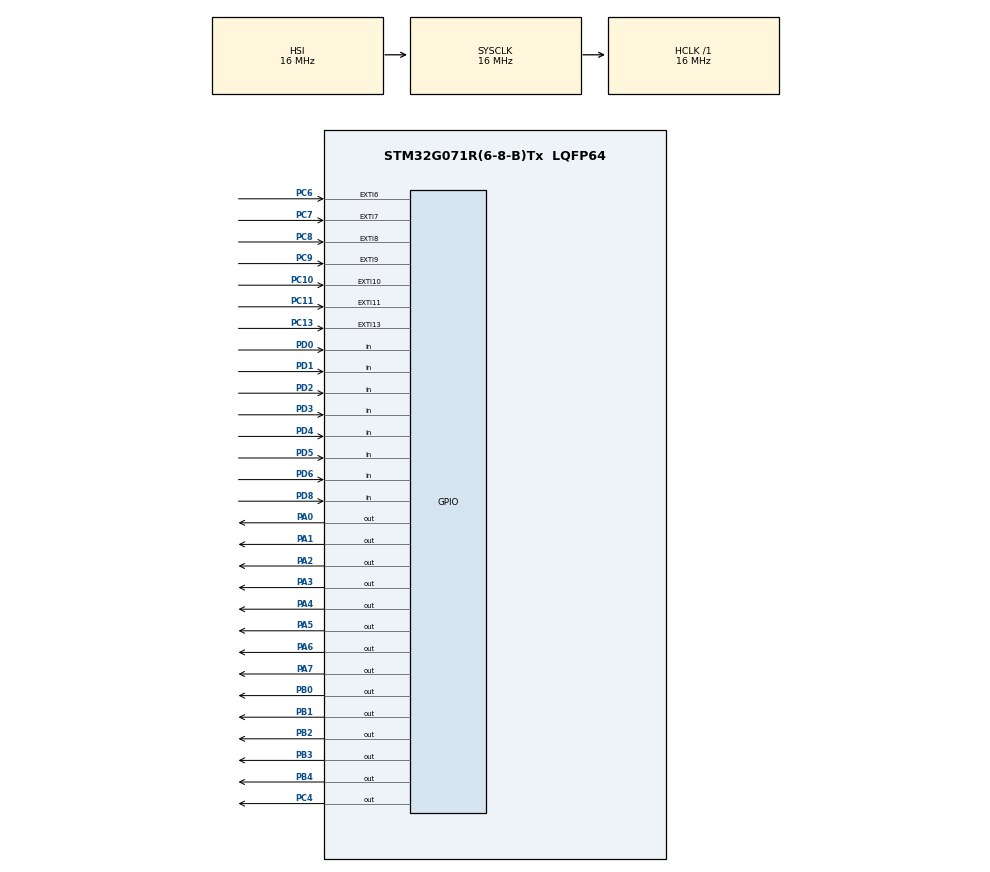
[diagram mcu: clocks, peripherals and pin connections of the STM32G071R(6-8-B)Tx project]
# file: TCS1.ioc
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Mcu.Family=STM32G0
Mcu.Name=STM32G071R(6-8-B)Tx
Mcu.Package=LQFP64
NVIC.EXTI4_15_IRQn=true\:0\:0\:false\:false\:true\:true\:true
PA0.Signal=GPIO_Output
PA1.Signal=GPIO_Output
PA2.Signal=GPIO_Output
PA3.Signal=GPIO_Output
PA4.Signal=GPIO_Output
PA5.Signal=GPIO_Output
PA6.Signal=GPIO_Output
PA7.Signal=GPIO_Output
PB0.Signal=GPIO_Output
PB1.Signal=GPIO_Output
PB2.Signal=GPIO_Output
PB3.Signal=GPIO_Output
PB4.Signal=GPIO_Output
PC10.GPIO_ModeDefaultEXTI=GPIO_MODE_IT_FALLING
PC10.GPIO_PuPd=GPIO_PULLUP
PC10.Signal=GPXTI10
PC11.GPIO_ModeDefaultEXTI=GPIO_MODE_IT_FALLING
PC11.GPIO_PuPd=GPIO_PULLUP
PC11.Signal=GPXTI11
PC13.GPIO_ModeDefaultEXTI=GPIO_MODE_IT_FALLING
PC13.Signal=GPXTI13
PC4.Signal=GPIO_Output
PC6.GPIO_ModeDefaultEXTI=GPIO_MODE_IT_FALLING
PC6.GPIO_PuPd=GPIO_PULLUP
PC6.Signal=GPXTI6
PC7.GPIO_ModeDefaultEXTI=GPIO_MODE_IT_FALLING
PC7.GPIO_PuPd=GPIO_PULLUP
PC7.Signal=GPXTI7
PC8.GPIO_ModeDefaultEXTI=GPIO_MODE_IT_FALLING
PC8.GPIO_PuPd=GPIO_PULLUP
PC8.Signal=GPXTI8
PC9.GPIO_ModeDefaultEXTI=GPIO_MODE_IT_FALLING
PC9.GPIO_PuPd=GPIO_PULLUP
PC9.Signal=GPXTI9
PD0.GPIO_PuPd=GPIO_PULLUP
PD0.Signal=GPIO_Input
PD1.GPIO_PuPd=GPIO_PULLUP
PD1.Signal=GPIO_Input
PD2.GPIO_PuPd=GPIO_PULLUP
PD2.Signal=GPIO_Input
PD3.GPIO_PuPd=GPIO_PULLUP
PD3.Signal=GPIO_Input
PD4.GPIO_PuPd=GPIO_PULLUP
PD4.Signal=GPIO_Input
PD5.GPIO_PuPd=GPIO_PULLUP
PD5.Signal=GPIO_Input
PD6.GPIO_PuPd=GPIO_PULLUP
PD6.Signal=GPIO_Input
PD8.GPIO_PuPd=GPIO_PULLUP
PD8.Signal=GPIO_Input
ProjectManager.HeapSize=0x200
ProjectManager.StackSize=0x400
ProjectManager.TargetToolchain=MDK-ARM V5.27
RCC.AHBFreq_Value=16000000
RCC.CortexFreq_Value=16000000
RCC.EXTERNAL_CLOCK_VALUE=48000
RCC.HCLKFreq_Value=16000000
RCC.HSE_VALUE=8000000
RCC.HSI_VALUE=16000000
RCC.LSE_VALUE=32768
RCC.SYSCLKFreq_VALUE=16000000
RCC.VCOOutputFreq_Value=128000000
VP_SYS_VS_DBSignals.Mode=DisableDeadBatterySignals
board=custom

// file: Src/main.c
/* USER CODE BEGIN Header */
/**
  ******************************************************************************
  * @file           : main.c
  * @brief          : Main program body
  ******************************************************************************
  * @attention
  *
  * <h2><center>&copy; Copyright (c) 2021 STMicroelectronics.
  * All rights reserved.</center></h2>
  *
  * This software component is licensed by ST under BSD 3-Clause license,
  * the "License"; You may not use this file except in compliance with the
  * License. You may obtain a copy of the License at:
  *                        opensource.org/licenses/BSD-3-Clause
  *
  ******************************************************************************
  */
/* USER CODE END Header */
#include "main.h"

#define u8  unsigned char
#define u16 unsigned int

int last_num[32][16];

void delay(void);
void lcdwritecmd(unsigned char cmd);
void lcdwritedata(unsigned char dat);
void lcdinit(void);

void clear(void);
void drowpoint(char x,char y,char z);
void lcdsetcursor(unsigned char x, unsigned char y);
void lcdshowstr(unsigned char x, unsigned char y, unsigned char *str);

const int flg[4][2]={{1,0},{0,1},{0,-1},{-1,0}};//下右左上坐标变化规律
int n=127,m=63;  //n和m是蛇的活动范围28行76列+边框=可视化窗口大小
struct xcw{int x,y;}tang[5][15],foodd[2];//结构体tan存储每条蛇的坐标  结构体foodd记录两个食物坐标
int tot[5];     //tot[0123]是四条蛇的长度
int f[5];       //存储蛇的运行状态0123下右左上   搭配flg使用
int score;      //得分
int food;       //食物个数
int ms=0;       //初始--模式选择
int ans_len=1e9;
int vis[128][64];//记录食物存在点的矩阵  例如(foddd[0].x,foddd[0].y)有食物则vis[foddd[0].x][foddd[0].y]=1

//int  choose();     //模式选择，中断代替
int  mods();         //对应模式小蛇初始化
void draw();         //显示边框
void rand_food();    //没有食物时随机投喂
int  change(int t);  //没有按键按下蛇的运行
int check(int x,int y);         //检验某一个点
void machine(int t,int x,int y); //机器人寻路
void result(int t);              //积分够了-胜利
void fnd(int t,int x,int y);     //撞墙撞蛇--失败
int  ads(int x);                 //取绝对值
int  other(int x);               //03交换、12交换
int get_food(int x,int y,int xxx,int yyy); //辅助机器人找寻食物

//void Ending();                   //结束

ITStatus EXTI_GetITStatus(uint32_t EXTI_Line) //判断中断管脚
{
    ITStatus bitstatus = RESET; //初始位状态0
    uint32_t enablestatus = 0;  //初始使能状态0
    /* Check the parameters */
    assert_param(IS_GET_EXTI_LINE(EXTI_Line));
    enablestatus =  EXTI->IMR1 & EXTI_Line;
    if (((EXTI->FPR1 & EXTI_Line) != (uint32_t)RESET) && (enablestatus != (uint32_t)RESET))
		      bitstatus = SET;
    else
        bitstatus = RESET;
    return bitstatus;
}

void EXTI_ClearITPendingBit(uint32_t EXTI_Line) //释放对应管脚标志位
{
  /* Check the parameters */
  assert_param(IS_EXTI_LINE(EXTI_Line));
  EXTI->FPR1 = EXTI_Line;
}

void SystemClock_Config(void);
static void MX_GPIO_Init(void);

int main(void)
{
  HAL_Init();
  SystemClock_Config();
  MX_GPIO_Init();
  lcdinit();
	HAL_Delay(100);

  while (1)
  {
		while(ms==0)
		{
			lcdshowstr(1,1,"Select Mode");
			HAL_Delay(100);
		}

		while(ms==1)  //1单人模式
		{
			rand_food();
			if (HAL_GPIO_ReadPin(GPIOD,GPIO_PIN_4)==0&&f[0]^0)       //左右上下
				f[0]=3;
			else if (HAL_GPIO_ReadPin(GPIOD,GPIO_PIN_5)==0&&f[0]^3)
				f[0]=0;
			else if (HAL_GPIO_ReadPin(GPIOD,GPIO_PIN_6)==0&&f[0]^1)
				f[0]=2;
			else if (HAL_GPIO_ReadPin(GPIOD,GPIO_PIN_8)==0&&f[0]^2)
				f[0]=1;
			else ;
			change(0);
		}

		while(ms==2)	//2双人合作
		{
			rand_food();
			if (HAL_GPIO_ReadPin(GPIOD,GPIO_PIN_0)==0&&f[0]^0) // 上
				f[0]=3;
			else if (HAL_GPIO_ReadPin(GPIOD,GPIO_PIN_1)==0&&f[0]^3) //下
				f[0]=0;
			else if (HAL_GPIO_ReadPin(GPIOD,GPIO_PIN_2)==0&&f[0]^1) //左
				f[0]=2;
			else if (HAL_GPIO_ReadPin(GPIOD,GPIO_PIN_3)==0&&f[0]^2) //右
				f[0]=1;
			else ;
			if (HAL_GPIO_ReadPin(GPIOD,GPIO_PIN_4)==0&&f[1]^0) // 上
				f[1]=3;
			else if (HAL_GPIO_ReadPin(GPIOD,GPIO_PIN_5)==0&&f[1]^3) //下
				f[1]=0;
			else if (HAL_GPIO_ReadPin(GPIOD,GPIO_PIN_6)==0&&f[1]^1) //左
				f[1]=2;
			else if (HAL_GPIO_ReadPin(GPIOD,GPIO_PIN_8)==0&&f[1]^2) //右
				f[1]=1;
			else ;
			change(0),change(1);
		}

		while(ms==3)	//3双人对抗
		{
			rand_food();
			if (HAL_GPIO_ReadPin(GPIOD,GPIO_PIN_0)==0&&f[0]^0) // 上
				f[0]=3;
			else if (HAL_GPIO_ReadPin(GPIOD,GPIO_PIN_1)==0&&f[0]^3) //下
				f[0]=0;
			else if (HAL_GPIO_ReadPin(GPIOD,GPIO_PIN_2)==0&&f[0]^1) //左
				f[0]=2;
			else if (HAL_GPIO_ReadPin(GPIOD,GPIO_PIN_3)==0&&f[0]^2) //右
				f[0]=1;
			else ;
			if (HAL_GPIO_ReadPin(GPIOD,GPIO_PIN_4)==0&&f[1]^0) // 上
				f[1]=3;
			else if (HAL_GPIO_ReadPin(GPIOD,GPIO_PIN_5)==0&&f[1]^3) //下
				f[1]=0;
			else if (HAL_GPIO_ReadPin(GPIOD,GPIO_PIN_6)==0&&f[1]^1) //左
				f[1]=2;
			else if (HAL_GPIO_ReadPin(GPIOD,GPIO_PIN_8)==0&&f[1]^2) //右
				f[1]=1;
			else ;
			change(0),change(1);
		}

		while(ms==4)	//4机机对抗抢分
		{
			rand_food();
			change(2),change(3);
		}

		while(ms==5)	//5人机对抗抢分
		{
			rand_food();
			if (HAL_GPIO_ReadPin(GPIOD,GPIO_PIN_4)==0&&f[0]^0) // 上
				f[0]=3;
			else if (HAL_GPIO_ReadPin(GPIOD,GPIO_PIN_5)==0&&f[0]^3) //下
				f[0]=0;
			else if (HAL_GPIO_ReadPin(GPIOD,GPIO_PIN_6)==0&&f[0]^1) //左
				f[0]=2;
			else if (HAL_GPIO_ReadPin(GPIOD,GPIO_PIN_8)==0&&f[0]^2) //右
				f[0]=1;
			else ;
			change(0),change(2);
		}

		while(ms==6)	//6双人对抗抢分
		{
			rand_food();
			if (HAL_GPIO_ReadPin(GPIOD,GPIO_PIN_0)==0&&f[0]^0) // 上
				f[0]=3;
			else if (HAL_GPIO_ReadPin(GPIOD,GPIO_PIN_1)==0&&f[0]^3) //下
				f[0]=0;
			else if (HAL_GPIO_ReadPin(GPIOD,GPIO_PIN_2)==0&&f[0]^1) //左
				f[0]=2;
			else if (HAL_GPIO_ReadPin(GPIOD,GPIO_PIN_3)==0&&f[0]^2) //右
				f[0]=1;
			else ;
			if (HAL_GPIO_ReadPin(GPIOD,GPIO_PIN_4)==0&&f[1]^0) // 上
				f[1]=3;
			else if (HAL_GPIO_ReadPin(GPIOD,GPIO_PIN_5)==0&&f[1]^3) //下
				f[1]=0;
			else if (HAL_GPIO_ReadPin(GPIOD,GPIO_PIN_6)==0&&f[1]^1) //左
				f[1]=2;
			else if (HAL_GPIO_ReadPin(GPIOD,GPIO_PIN_8)==0&&f[1]^2) //右
				f[1]=1;
			else ;
			change(0),change(1);
		}
  }
}

void SystemClock_Config(void)
{
  RCC_OscInitTypeDef RCC_OscInitStruct = {0};
  RCC_ClkInitTypeDef RCC_ClkInitStruct = {0};

  /** Configure the main internal regulator output voltage
  */
  HAL_PWREx_ControlVoltageScaling(PWR_REGULATOR_VOLTAGE_SCALE1);
  /** Initializes the RCC Oscillators according to the specified parameters
  * in the RCC_OscInitTypeDef structure.
  */
  RCC_OscInitStruct.OscillatorType = RCC_OSCILLATORTYPE_HSI;
  RCC_OscInitStruct.HSIState = RCC_HSI_ON;
  RCC_OscInitStruct.HSIDiv = RCC_HSI_DIV1;
  RCC_OscInitStruct.HSICalibrationValue = RCC_HSICALIBRATION_DEFAULT;
  RCC_OscInitStruct.PLL.PLLState = RCC_PLL_NONE;
  if (HAL_RCC_OscConfig(&RCC_OscInitStruct) != HAL_OK)
  {
    Error_Handler();
  }
  /** Initializes the CPU, AHB and APB buses clocks
  */
  RCC_ClkInitStruct.ClockType = RCC_CLOCKTYPE_HCLK|RCC_CLOCKTYPE_SYSCLK
                              |RCC_CLOCKTYPE_PCLK1;
  RCC_ClkInitStruct.SYSCLKSource = RCC_SYSCLKSOURCE_HSI;
  RCC_ClkInitStruct.AHBCLKDivider = RCC_SYSCLK_DIV1;
  RCC_ClkInitStruct.APB1CLKDivider = RCC_HCLK_DIV1;

  if (HAL_RCC_ClockConfig(&RCC_ClkInitStruct, FLASH_LATENCY_0) != HAL_OK)
  {
    Error_Handler();
  }
}

static void MX_GPIO_Init(void)
{
  GPIO_InitTypeDef GPIO_InitStruct = {0};

  /* GPIO Ports Clock Enable */
  __HAL_RCC_GPIOC_CLK_ENABLE();
  __HAL_RCC_GPIOA_CLK_ENABLE();
  __HAL_RCC_GPIOB_CLK_ENABLE();
  __HAL_RCC_GPIOD_CLK_ENABLE();

  /*Configure GPIO pin Output Level */
  HAL_GPIO_WritePin(GPIOA, GPIO_PIN_0|GPIO_PIN_1|GPIO_PIN_2|GPIO_PIN_3
                          |GPIO_PIN_4|GPIO_PIN_5|GPIO_PIN_6|GPIO_PIN_7, GPIO_PIN_RESET);

  /*Configure GPIO pin Output Level */
  HAL_GPIO_WritePin(GPIOC, GPIO_PIN_4, GPIO_PIN_RESET);

  /*Configure GPIO pin Output Level */
  HAL_GPIO_WritePin(GPIOB, GPIO_PIN_0|GPIO_PIN_1|GPIO_PIN_2|GPIO_PIN_3
                          |GPIO_PIN_4, GPIO_PIN_RESET);

  /*Configure GPIO pins : PC11 PC6 PC7 PC8
                           PC9 PC10 */
  GPIO_InitStruct.Pin = GPIO_PIN_11|GPIO_PIN_6|GPIO_PIN_7|GPIO_PIN_8
                          |GPIO_PIN_9|GPIO_PIN_10;
  GPIO_InitStruct.Mode = GPIO_MODE_IT_FALLING;
  GPIO_InitStruct.Pull = GPIO_PULLUP;
  HAL_GPIO_Init(GPIOC, &GPIO_InitStruct);

  /*Configure GPIO pin : PC13 */
  GPIO_InitStruct.Pin = GPIO_PIN_13;
  GPIO_InitStruct.Mode = GPIO_MODE_IT_FALLING;
  GPIO_InitStruct.Pull = GPIO_NOPULL;
  HAL_GPIO_Init(GPIOC, &GPIO_InitStruct);

  /*Configure GPIO pins : PA0 PA1 PA2 PA3
                           PA4 PA5 PA6 PA7 */
  GPIO_InitStruct.Pin = GPIO_PIN_0|GPIO_PIN_1|GPIO_PIN_2|GPIO_PIN_3
                          |GPIO_PIN_4|GPIO_PIN_5|GPIO_PIN_6|GPIO_PIN_7;
  GPIO_InitStruct.Mode = GPIO_MODE_OUTPUT_PP;
  GPIO_InitStruct.Pull = GPIO_NOPULL;
  GPIO_InitStruct.Speed = GPIO_SPEED_FREQ_LOW;
  HAL_GPIO_Init(GPIOA, &GPIO_InitStruct);

  /*Configure GPIO pin : PC4 */
  GPIO_InitStruct.Pin = GPIO_PIN_4;
  GPIO_InitStruct.Mode = GPIO_MODE_OUTPUT_PP;
  GPIO_InitStruct.Pull = GPIO_NOPULL;
  GPIO_InitStruct.Speed = GPIO_SPEED_FREQ_LOW;
  HAL_GPIO_Init(GPIOC, &GPIO_InitStruct);

  /*Configure GPIO pins : PB0 PB1 PB2 PB3
                           PB4 */
  GPIO_InitStruct.Pin = GPIO_PIN_0|GPIO_PIN_1|GPIO_PIN_2|GPIO_PIN_3
                          |GPIO_PIN_4;
  GPIO_InitStruct.Mode = GPIO_MODE_OUTPUT_PP;
  GPIO_InitStruct.Pull = GPIO_NOPULL;
  GPIO_InitStruct.Speed = GPIO_SPEED_FREQ_LOW;
  HAL_GPIO_Init(GPIOB, &GPIO_InitStruct);

  /*Configure GPIO pins : PD8 PD0 PD1 PD2
                           PD3 PD4 PD5 PD6 */
  GPIO_InitStruct.Pin = GPIO_PIN_8|GPIO_PIN_0|GPIO_PIN_1|GPIO_PIN_2
                          |GPIO_PIN_3|GPIO_PIN_4|GPIO_PIN_5|GPIO_PIN_6;
  GPIO_InitStruct.Mode = GPIO_MODE_INPUT;
  GPIO_InitStruct.Pull = GPIO_PULLUP;
  HAL_GPIO_Init(GPIOD, &GPIO_InitStruct);

  /* EXTI interrupt init*/
  HAL_NVIC_SetPriority(EXTI4_15_IRQn, 0, 0);
  HAL_NVIC_EnableIRQ(EXTI4_15_IRQn);

}

/* USER CODE BEGIN 4 */
void delay ()
{
	for(int i=0;i<99;i++)
	  for(int j=0;j<99;j++)
	 {}
}

void lcdwritecmd(unsigned char cmd)
{
	delay();          //           使能 写  指令
	GPIOB->ODR=0x18;  //RST=1\PSB=1\E=0\RW=0\RS=0
	GPIOA->ODR=cmd;
	GPIOB->ODR=0x1C;	//RST=1\PSB=1\E=1\RW=0\RS=0
	delay();
	GPIOB->ODR=0x18;	//RST=1\PSB=1\E=0\RW=0\RS=0
}

void lcdwritedata(unsigned char dat)
{
  delay();          //           使能  写  数据
	GPIOB->ODR=0x19;	//RST=1\PSB=1\E=0\RW=0\RS=1
  GPIOA->ODR=dat;
	GPIOB->ODR=0x1D;	//RST=1\PSB=1\E=1\RW=0\RS=1
	delay();
	GPIOB->ODR=0x19;	//RST=1\PSB=1\E=0\RW=0\RS=1
}

void lcdinit()
{
	lcdwritecmd(0x34); //E 使能   RS1数据0指令  RW1读0写
	lcdwritecmd(0x30);
	lcdwritecmd(0x0C);
	lcdwritecmd(0x01);
}

void clear(void)
{
	for(int i=0;i<=32;i++)  // 64行  不用一个一个像素清除了
		for(int j=0;j<=18;j++) // 18大列
	{
			lcdwritecmd(0x34);        //打开扩展指令集
			lcdwritecmd(0x80 + i - 1);
			lcdwritecmd(0x80 + j);
			lcdwritedata(0x00);
			lcdwritedata(0x00);
		  lcdwritecmd(0x36);        //打开绘图显示
			lcdwritecmd(0x30);        //回到基本指令集
	}
}

void drowpoint(char x,char y,char z)  //像素输出
{
  char i = 0;
	char j = 0;
	int num = 0x8000;         //16位输出高位在左
	lcdwritecmd(0x34);        //打开扩展指令集
	if( y <= 32 )
	{
		i += y;     // i=y    -1      i的范围32以下
		j = (x - 1) / 16;  //大列    j的范围16以下
		x = ( x%16>0? (x%16):16 ) - 1 ;
		num = num >> x;
	}
	else
	{
		i = y - 32;	 //i=y-32  -1
		j = ( (x - 1) / 16 ) + 8;
		x = ( x%16>0? (x%16):16 ) - 1 ;
		num = num >> x;
	}
	if(z>0)
 	  num = last_num[i][j] | num;
	else
	{
		num=~num;
		num=last_num[i][j] & num;
	}
	lcdwritecmd(0x80 + i - 1);
	lcdwritecmd(0x80 + j);
	lcdwritedata(num / 256);
	lcdwritedata(num % 256);
  lcdwritecmd(0x36);        //打开绘图显示
	lcdwritecmd(0x30);        //回到基本指令集

	last_num[i][j] = num;
}

void lcdsetcursor(unsigned char x, unsigned char y) //字符定位
{
	unsigned char address;
	if(y==0)
		address=0x80+x;
	else if(y==1)
		address=0x90+x;
	else if(y==2)
		address=0x88+x;
	else
		address=0x98+x;
	lcdwritecmd(address|0x80);
}

void lcdshowstr(unsigned char x, unsigned char y, unsigned char *str) //字符输出
{
	lcdsetcursor(x,y);
	while((*str)!='\0')
	{
		 lcdwritedata(*str);
  		str++;
	}
}

void EXTI4_15_IRQHandler(void)   // 中断控制模式
{
	if (EXTI_GetITStatus(0x2000) != 0x00)  // 0x2000==GPIO_PIN_13
  {
		EXTI_ClearITPendingBit(0x2000);  //Clear interrupt flag bit
		HAL_GPIO_TogglePin(GPIOC,GPIO_PIN_4);
  }
	else
	{
		lcdshowstr(1,1,"           ");
		clear();
		score=0;
		food=0;
		draw();
	}

  if (EXTI_GetITStatus(0x0040) != 0x00)  // 0x0040==EXTI_PIN_6
  {
		EXTI_ClearITPendingBit(0x0040);
		ms=1;
  }
	else if (EXTI_GetITStatus(0x0080) != 0x00)  // 0x0080==EXTI_PIN_7
  {
		EXTI_ClearITPendingBit(0x0080);
		ms=2;
  }
	else if (EXTI_GetITStatus(0x0100) != 0x00)  // 0x0100==EXTI_PIN_8
  {
		EXTI_ClearITPendingBit(0x0100);
		ms=3;
  }
	else if (EXTI_GetITStatus(0x0200) != 0x00)  // 0x0200==EXTI_PIN_9
  {
		EXTI_ClearITPendingBit(0x0200);
		ms=4;
  }
	else if (EXTI_GetITStatus(0x0400) != 0x00)  // 0x0400==EXTI_PIN_10
  {
		EXTI_ClearITPendingBit(0x0400);
		ms=5;
  }
	else if (EXTI_GetITStatus(0x0800) != 0x00)  // 0x0800==EXTI_PIN_11
  {
		EXTI_ClearITPendingBit(0x0800);
		ms=6;
  }
	else ;

	if (EXTI_GetITStatus(0x2000) == 0x00)
		mods();    //对应模式小蛇初始化
}
/* USER CODE END 4 */

int mods()  //对应模式小蛇初始化
{
	if(ms!=4)
	{
		tang[0][1].x=2;
		tang[0][1].y=5;
		tang[0][2].x=2;
		tang[0][2].y=4;
		tang[0][tot[0]=3].x=2;
		tang[0][tot[0]=3].y=3;
		f[0]=1;   //玩家1初始方向  向右
		for(int i=1;i<=tot[0];i++)
			drowpoint(tang[0][i].x,tang[0][i].y,1);
	}
	if(ms==2||ms==3||ms==6)
	{
		tang[1][1].x=n;
		tang[1][1].y=m-3;
		tang[1][2].x=n;
		tang[1][1].y=m-2;
		tang[1][tot[1]=3].x=n;
		tang[1][tot[1]=3].y=m-1;
		f[1]=2;    //电脑1初始方向  向左
		for(int i=1;i<=tot[1];i++)
			drowpoint(tang[1][i].x,tang[1][i].y,1);
	}
	if(ms==5||ms==4)
	{											//电脑1
		tang[2][1].x=n;
		tang[2][1].y=m-3;
		tang[2][2].x=n;
		tang[2][1].y=m-2;
		tang[2][tot[2]=3].x=n;
		tang[2][tot[2]=3].y=m-1;
		f[2]=2;    //电脑1初始方向  向左
		for(int i=1;i<=tot[2];i++)
			drowpoint(tang[2][i].x,tang[2][i].y,1);
	}
	if(ms==4)
	{
		tang[3][1].x=2;
		tang[3][1].y=5;
		tang[3][2].x=2;
		tang[3][2].y=4;
		tang[3][tot[3]=3].x=2;
		tang[3][tot[3]=3].y=3;
		f[3]=1;   //电脑2初始方向  向右
		for(int i=1;i<=tot[3];i++)
			drowpoint(tang[3][i].x,tang[3][i].y,1);
	}
}

void draw()  //显示边框
{
	for(int i=1;i<=n+1;i++)
	{
		drowpoint(i,1,1); //****
		drowpoint(i,m+1,1);
	}
	for(int i=1;i<=m+1;i++)
	{
		drowpoint(1,i,1);
		drowpoint(n+1,i,1);
	}
}

void rand_food()  //没有食物时随机投喂
{
    if(!vis[foodd[0].x][foodd[0].y]) //如果0号食物不见了
	{
		int x=rand()%(n+1),y=(rand()%m/2)*2; //随机产生xy坐标y为偶数
		while(!check(x,y))
			x=rand()%(n+1),y=(rand()%m/2)*2; //检验随机投喂的点，是否需要重新投喂
		drowpoint(x,y,1);
	    food++;
		vis[x][y]=1;
		foodd[0].x=x;
		foodd[0].y=y;
	}
	if(!vis[foodd[1].x][foodd[1].y])  //第二个食物--同上
	{
		int x=rand()%n,y=rand()%m;
		while(!check(x,y))
			x=rand()%n,y=(rand()%m);
		drowpoint(x,y,1);
		food++;
		vis[x][y]=1;
		foodd[1].x=x;
		foodd[1].y=y;
	}
}

int change(int t)  //没有按键按下蛇的运行--第t条蛇
{
	int x=tang[t][1].x,y=tang[t][1].y;    //x和y是蛇头位置的xy
	if(t==2||t==3)                      //2号和3号蛇是电脑
		machine(t,x,y);                 //机器人寻路
	x+=flg[f[t]][0],y+=flg[f[t]][1];    //蛇头(x,y)按规律变化
	for(int i=tot[t];i;i--)             //蛇的身子位置数据库刷新
	   {
	        tang[t][i+1]=tang[t][i];
	        drowpoint(tang[t][i].x,tang[t][i].y,1); //身子显示刷新
		}
	drowpoint(tang[t][tot[t]+1].x,tang[t][tot[t]+1].y,0); //原来的蛇尾消失
	if(vis[x][y])  //如果吃掉一个食物的话
	{
		vis[x][y]=0,score+=(t==0||t==1),food--;
		if(++tot[t]>=10)  //有一方吃够分
			result(t);
		drowpoint(tang[t][tot[t]].x,tang[t][tot[t]].y,1); //尾巴处+1
	}
	fnd(t,x,y);   //一方撞墙撞蛇则失败
	tang[t][1].x=x;    //把蛇头位置反馈到全局变量中
	tang[t][1].y=y;
	drowpoint(tang[t][1].x,tang[t][1].y,1);  //显示蛇头
}

int check(int x,int y)         //检验某一个点
{
	if(x<1||x>n||y<2||y>m)  //边界外返回0
		return 0;
	int t=1;
	if(ms!=4)
	    for(int i=1;i<=tot[0];i++)   //在蛇身上返回0
	        if(x==tang[0][i].x&&y==tang[0][i].y)
			    {t=0;break;}
	if(ms==2||ms==3||ms==6)
	    for(int i=1;i<=tot[1];i++)
	        if(x==tang[1][i].x&&y==tang[1][i].y)
			    {t=0;break;}
	if(ms==5||ms==4)
		for(int i=1;i<=tot[2];i++)
			if(x==tang[2][i].x&&y==tang[2][i].y)
					{t=0;break;}
	if(ms==4)
		for(int i=1;i<=tot[3];i++)
			if(x==tang[3][i].x&&y==tang[3][i].y)
					{t=0;break;}
	return t;    //都不在这些点返回1
}

void machine(int t,int x,int y)  //机器人寻路
{
	int tt=0;
	int foodid,minn=1e9,newf=f[t];
	if((get_food(x,y,foodd[0].x,foodd[0].y)<=get_food(x,y,foodd[1].x,foodd[1].y)&&vis[foodd[0].x][foodd[0].y])||!vis[foodd[1].x][foodd[1].y])
		foodid=0;
	else
		foodid=1;
	for(int i=0;i<4;i++)
		if(f[t]^other(i))
		{
			if(check(x+flg[i][0],y+flg[i][1]))
			{
				int now=get_food(x+flg[i][0],y+flg[i][1],foodd[foodid].x,foodd[foodid].y);
				if(now<minn)
					newf=i,tt=1,minn=now;
				if(!tt)
					newf=i;
			}
		}
	f[t]=newf;
}

void result(int t)  //积分够了--胜利
{
	if(ms==5)           //人机对抗-抢分
		if(t==0)
		    lcdshowstr(1,1,"Win!!!");
		else
		    lcdshowstr(1,1,"Lose!!!");
	else if(ms==4)      //机机对抗-抢分
	  if(t==2)
		    lcdshowstr(1,1,"Robot1 Wine    (Enough)");
		else
		    lcdshowstr(1,1,"Robot2 Wine    (Enough)");
	else if(ms==6)      //对抗模式-抢分
	    if(t==1)
		    lcdshowstr(1,1,"Player1 Wine   (Enough)");
		  else
		    lcdshowstr(1,1,"Player2 Wine   (Enough)");
	else ;
	while(1); //结束
}

void fnd(int t,int x,int y)  //撞墙
{
	if(check(x,y)) return;   //check(x,y)为0则相撞
	if(ms==4)        //机机对抗-抢分
	    if(t==3)
				lcdshowstr(1,1,"Robot2 Die");
	    else
	      lcdshowstr(1,1,"Robot1 Die");
	else if(ms==3||ms==6)   //对抗模式  对抗模式-抢分
	    if(t==1)
		    lcdshowstr(1,1,"Player2 Die");
		else
		    lcdshowstr(1,1,"Player1 Die");
	else
	{
		if(t==2)
		    lcdshowstr(1,1,"Win!!!");
		else
		    lcdshowstr(1,1,"Lose!!!");
		//printf("\n 玩家分数:%d\n",score);
		score=0;
	}
	while(1);  //结束
}

int ads(int x)  //取绝对值
{
    return x<0?-x:x; //x是否<0,如果x<0的话就执行:前面的语句，如果x不小于0的话就执行:后面的语句
}

int other(int x)  //03交换、12交换
{
	if     (x==0) return 3;
	else if(x==1) return 2;
	else if(x==2) return 1;
	else          return 0;
}

int get_food(int x,int y,int xxx,int yyy)  //辅助机器人找寻食物
{
    return ads(x-xxx)+ads(y-yyy);
}

void Error_Handler(void)
{
  __disable_irq();
  while (1)
  {
  }
}

/************************ (C) COPYRIGHT STMicroelectronics *****END OF FILE****/
